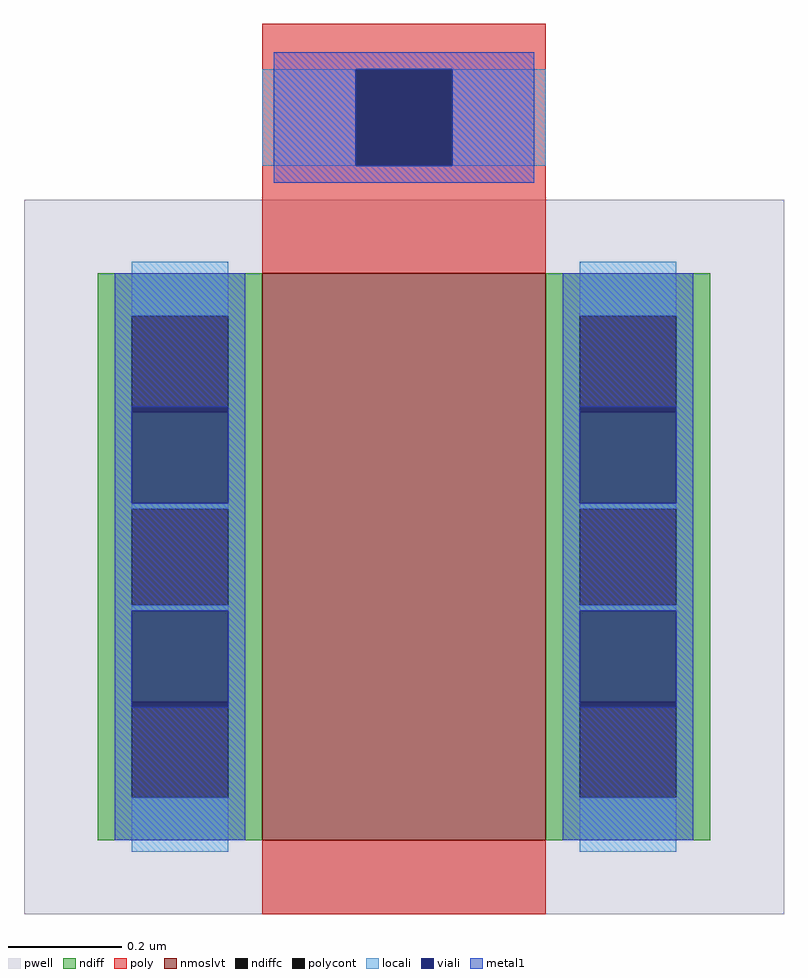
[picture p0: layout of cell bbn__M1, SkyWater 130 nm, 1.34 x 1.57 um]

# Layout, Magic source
magic
tech sky130A
magscale 1 2
<< pwell >>
rect -134 -126 134 126
<< nmoslvt >>
rect -50 -100 50 100
<< ndiff >>
rect -108 85 -50 100
rect -108 51 -96 85
rect -62 51 -50 85
rect -108 17 -50 51
rect -108 -17 -96 17
rect -62 -17 -50 17
rect -108 -51 -50 -17
rect -108 -85 -96 -51
rect -62 -85 -50 -51
rect -108 -100 -50 -85
rect 50 85 108 100
rect 50 51 62 85
rect 96 51 108 85
rect 50 17 108 51
rect 50 -17 62 17
rect 96 -17 108 17
rect 50 -51 108 -17
rect 50 -85 62 -51
rect 96 -85 108 -51
rect 50 -100 108 -85
<< ndiffc >>
rect -96 51 -62 85
rect -96 -17 -62 17
rect -96 -85 -62 -51
rect 62 51 96 85
rect 62 -17 96 17
rect 62 -85 96 -51
<< poly >>
rect -50 172 50 188
rect -50 138 -17 172
rect 17 138 50 172
rect -50 100 50 138
rect -50 -126 50 -100
<< polycont >>
rect -17 138 17 172
<< locali >>
rect -50 138 -17 172
rect 17 138 50 172
rect -96 85 -62 104
rect -96 17 -62 19
rect -96 -19 -62 -17
rect -96 -104 -62 -85
rect 62 85 96 104
rect 62 17 96 19
rect 62 -19 96 -17
rect 62 -104 96 -85
<< viali >>
rect -17 138 17 172
rect -96 51 -62 53
rect -96 19 -62 51
rect -96 -51 -62 -19
rect -96 -53 -62 -51
rect 62 51 96 53
rect 62 19 96 51
rect 62 -51 96 -19
rect 62 -53 96 -51
<< metal1 >>
rect -46 172 46 178
rect -46 138 -17 172
rect 17 138 46 172
rect -46 132 46 138
rect -102 53 -56 100
rect -102 19 -96 53
rect -62 19 -56 53
rect -102 -19 -56 19
rect -102 -53 -96 -19
rect -62 -53 -56 -19
rect -102 -100 -56 -53
rect 56 53 102 100
rect 56 19 62 53
rect 96 19 102 53
rect 56 -19 102 19
rect 56 -53 62 -19
rect 96 -53 102 -19
rect 56 -100 102 -53
<< end >>
